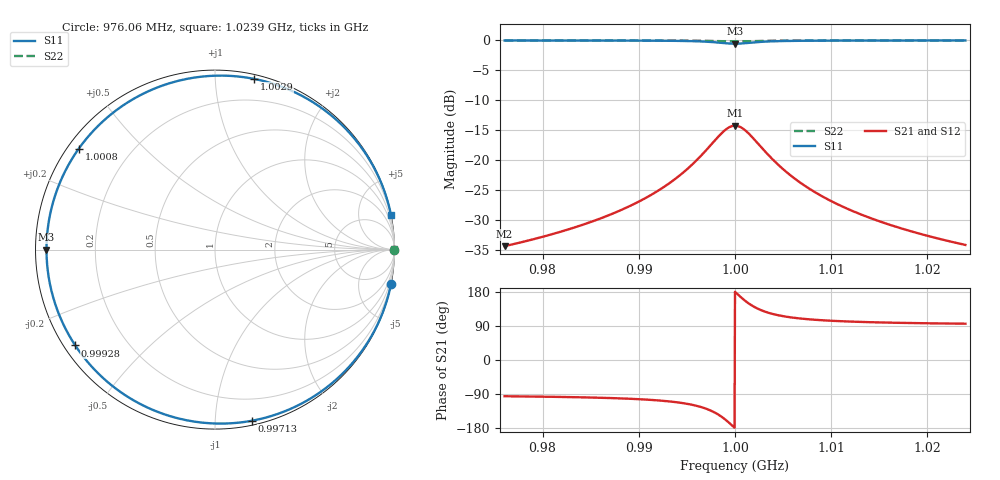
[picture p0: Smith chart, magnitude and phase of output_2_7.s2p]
! File generated for n1 = 2, n2 = 7
! b1 = 46.415888
! b2 = 0.464159
! Q0 = 10000.000000
! f0 = 1000000000.000000
! n = 1001
! rel_span = 10.000000
# Hz S RI R 50
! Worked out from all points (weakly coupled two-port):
!   1001 points, 976.06 MHz to 1.0239 GHz, reference 50 ohm
!   highest |S21| = -14.25 dB at 1 GHz (marker M1); lowest = -34.4 dB at 976.06 MHz (marker M2)
!   lowest |S11| = -0.5 dB at 1 GHz (marker M3), VSWR 31.70, Z = 1.58 + j0 ohm
!   |S11| at or under -10 dB: nowhere
!   |S22| runs from -0.2 to 0.0 dB; largest |S21 - S12| = 0
!   S11 on the Smith chart (normalised r, x): 976.06 MHz: 0, -10; 997.13 MHz: 0.03, -1.24; 999.28 MHz: 0.03, -0.31; 1.0008 GHz: 0.03, +0.33; 1.0029 GHz: 0.03, +1.26; 1.0239 GHz: 0, +10
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9.7606e8  0.9813 -0.1897  -0.00187 -0.019  -0.00187 -0.019  0.9998 -0.0019
9.840559e8  0.9579 -0.2825  -0.00421 -0.0283  -0.00421 -0.0283  0.9996 -0.00283
9.886045e8  0.9189 -0.3881  -0.00811 -0.0388  -0.00811 -0.0388  0.9992 -0.00388
9.920519e8  0.8399 -0.5336  -0.016 -0.0534  -0.016 -0.0534  0.9984 -0.00534
9.951162e8  0.6259 -0.7651  -0.0374 -0.0765  -0.0374 -0.0765  0.9963 -0.00765
9.962175e8  0.447 -0.8754  -0.0553 -0.0875  -0.0553 -0.0875  0.9945 -0.00875
9.971272e8  0.2067 -0.9533  -0.0793 -0.0953  -0.0793 -0.0953  0.9921 -0.00953
9.983242e8  -0.3005 -0.9111  -0.1301 -0.0911  -0.1301 -0.0911  0.987 -0.00911
9.98803e8  -0.5507 -0.7758  -0.1551 -0.0776  -0.1551 -0.0776  0.9845 -0.00776
9.992818e8  -0.7786 -0.5338  -0.1779 -0.0534  -0.1779 -0.0534  0.9822 -0.00534
1e9  -0.9388 0  -0.1939 0  -0.1939 0  0.9806 0
1.000383e9  -0.8905 0.3024  -0.189 0.0302  -0.189 0.0302  0.9811 0.00302
1.000766e9  -0.7589 0.5626  -0.1759 0.0563  -0.1759 0.0563  0.9824 0.00563
1.001197e9  -0.5514 0.7753  -0.1551 0.0775  -0.1551 0.0775  0.9845 0.00775
1.001676e9  -0.302 0.9106  -0.1302 0.0911  -0.1302 0.0911  0.987 0.00911
1.002202e9  -0.0511 0.966  -0.1051 0.0966  -0.1051 0.0966  0.9895 0.00966
1.002921e9  0.2195 0.9508  -0.0781 0.0951  -0.0781 0.0951  0.9922 0.00951
1.00383e9  0.4539 0.8721  -0.0546 0.0872  -0.0546 0.0872  0.9945 0.00872
1.004932e9  0.6288 0.7628  -0.0371 0.0763  -0.0371 0.0763  0.9963 0.00763
1.007996e9  0.8393 0.5345  -0.0161 0.0535  -0.0161 0.0535  0.9984 0.00535
1.015992e9  0.9568 0.286  -0.00432 0.0286  -0.00432 0.0286  0.9996 0.00286
1.02394e9  0.9804 0.1942  -0.00196 0.0194  -0.00196 0.0194  0.9998 0.00194
